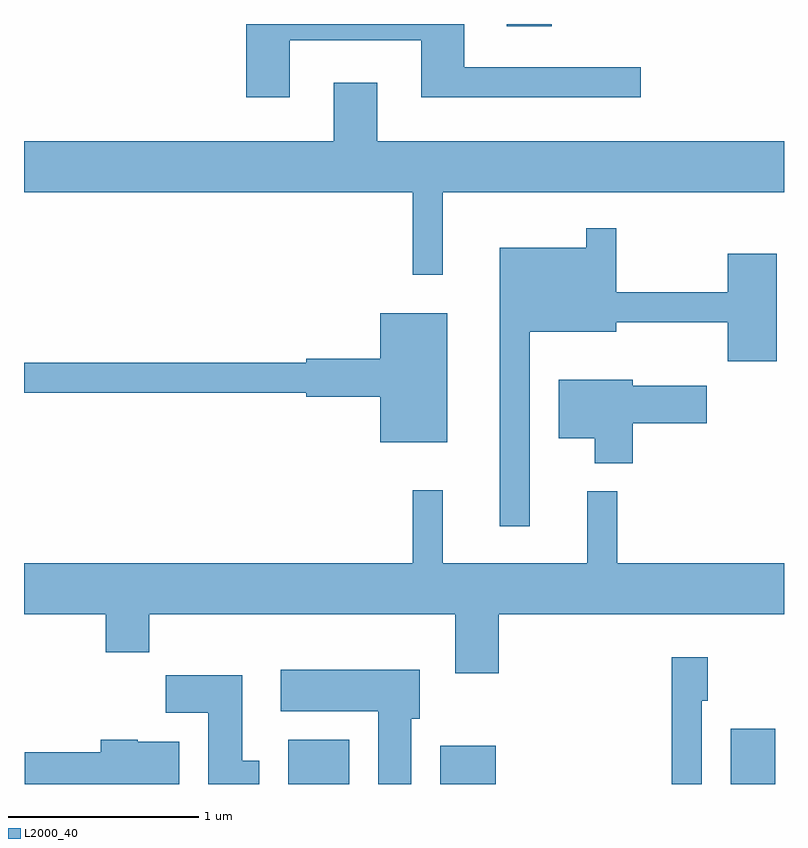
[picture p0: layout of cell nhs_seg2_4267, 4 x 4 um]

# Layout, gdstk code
import gdstk
lib = gdstk.Library(unit=1e-6, precision=1e-09)
def R(c, l, rs):  # rectangles x0, y0, x1, y1
    for r in rs: c.add(gdstk.rectangle(r[:2], r[2:], *l))
def P(c, l, *ps):  # polygons
    for p in ps: c.add(gdstk.Polygon(p, *l))
L2000_40 = (2000, 40)

nhs_seg2_4267 = lib.new_cell('nhs_seg2_4267')
R(nhs_seg2_4267, L2000_40, [(311.001,1111.802,311.324,1112.034), (311.801,1111.802,312.094,1112.004), (313.331,1111.802,313.564,1112.094), (312.153,1115.791,312.389,1115.802)])
P(nhs_seg2_4267, L2000_40, [(311.009,1115.716),(311.701,1115.716),(311.701,1115.416),(312.858,1115.416),(312.858,1115.574),(311.929,1115.574),(311.929,1115.802),(310.781,1115.802),(310.781,1115.416),(311.009,1115.416)],
  [(311.814,1114.916),(313.611,1114.916),(313.611,1115.184),(311.469,1115.184),(311.469,1115.494),(311.241,1115.494),(311.241,1115.184),(309.611,1115.184),(309.611,1114.916),(311.656,1114.916),(311.656,1114.483),(311.814,1114.483)],
  [(312.274,1114.181),(312.729,1114.181),(312.729,1114.231),(313.316,1114.231),(313.316,1114.026),(313.574,1114.026),(313.574,1114.594),(313.316,1114.594),(313.316,1114.389),(312.729,1114.389),(312.729,1114.728),(312.571,1114.728),(312.571,1114.624),(312.116,1114.624),(312.116,1113.158),(312.274,1113.158)],
  [(311.839,1114.279),(311.486,1114.279),(311.486,1114.039),(311.096,1114.039),(311.096,1114.019),(309.611,1114.019),(309.611,1113.861),(311.096,1113.861),(311.096,1113.841),(311.486,1113.841),(311.486,1113.601),(311.839,1113.601)],
  [(312.814,1113.701),(313.204,1113.701),(313.204,1113.899),(312.814,1113.899),(312.814,1113.929),(312.426,1113.929),(312.426,1113.621),(312.616,1113.621),(312.616,1113.491),(312.814,1113.491)],
  [(312.109,1112.696),(313.611,1112.696),(313.611,1112.964),(312.734,1112.964),(312.734,1113.343),(312.576,1113.343),(312.576,1112.964),(311.814,1112.964),(311.814,1113.348),(311.656,1113.348),(311.656,1112.964),(309.611,1112.964),(309.611,1112.696),(310.041,1112.696),(310.041,1112.496),(310.269,1112.496),(310.269,1112.696),(311.881,1112.696),(311.881,1112.386),(312.109,1112.386)],
  [(313.179,1112.241),(313.209,1112.241),(313.209,1112.469),(313.021,1112.469),(313.021,1111.802),(313.179,1111.802)],
  [(311.649,1112.146),(311.694,1112.146),(311.694,1112.404),(310.961,1112.404),(310.961,1112.186),(311.476,1112.186),(311.476,1111.802),(311.649,1111.802)],
  [(310.849,1111.924),(310.759,1111.924),(310.759,1112.374),(310.356,1112.374),(310.356,1112.176),(310.581,1112.176),(310.581,1111.802),(310.849,1111.802)],
  [(310.429,1112.024),(310.21,1112.024),(310.21,1112.034),(310.016,1112.034),(310.016,1111.969),(309.616,1111.969),(309.616,1111.802),(310.429,1111.802)])

lib.write_gds('nhs_seg2_4267.gds')
